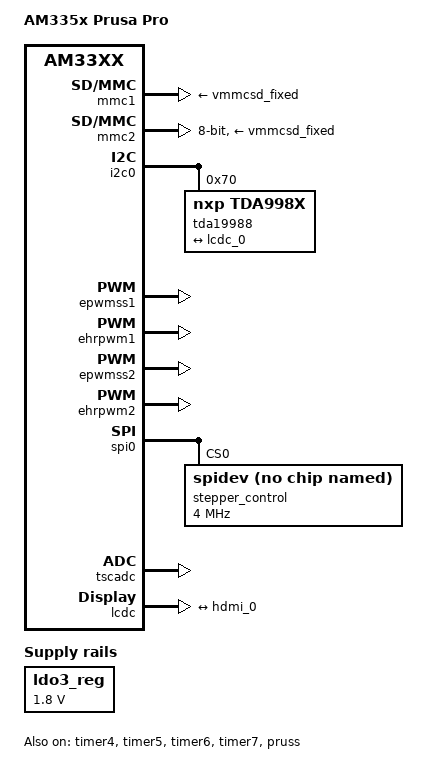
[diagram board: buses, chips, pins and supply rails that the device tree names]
/*
 * Copyright (C) 2012 Texas Instruments Incorporated - http://www.ti.com/
 *
 * This program is free software; you can redistribute it and/or modify
 * it under the terms of the GNU General Public License version 2 as
 * published by the Free Software Foundation.
 */
/dts-v1/;

#include "am33xx.dtsi"
#include "am335x-bone-common.dtsi"
#include <dt-bindings/display/tda998x.h>
/* #include "am335x-bone-jtag.dtsi" */

/ {
    model = "AM335x Prusa Pro";
    compatible = "ti,am335x-bone-black", "ti,am335x-bone", "ti,am33xx";
/*
    gpio_keys {
        compatible = "gpio-keys";
        pinctrl-names = "default";
        pinctrl-0 = <&end_stop_pins>;
        pinctrl-1 = <&stepper_fault_pins>;
        #address-cells = <1>;
        #size-cells = <0>;

        switch_x1 {
            label               = "Replic:End-stop-X1";
            debounce_interval   = <50>;
            linux,code          = <112>;
            gpios               = <&gpio1 28 0x5>;
            gpio-key,wakeup;
        };              
        switch_x2 {
            label               = "Replic:End-stop-X2";
            debounce_interval   = <50>;
            linux,code          = <113>;
            gpios               = <&gpio1 17 0x5>;
            gpio-key,wakeup;
        };
        switch_y1 {
            label               = "Replic:End-stop-Y1";
            debounce_interval   = <50>;
            linux,code          = <114>;
            gpios               = <&gpio1 27 0x5>;
            gpio-key,wakeup;
        };              
        switch_y2 {
            label               = "Replic:End-stop-Y2";
            debounce_interval   = <50>;
            linux,code          = <115>;
            gpios               = <&gpio1 29 0x5>;
            gpio-key,wakeup;
        };              
        switch_z1 {
            label               = "Replic:End-stop-Z1";
            debounce_interval   = <50>;
            linux,code          = <116>;
            gpios               = <&gpio1 14 0x5>;
            gpio-key,wakeup;
        };              
        switch_z2 {
            label               = "Replic:End-stop-Z2";
            debounce_interval   = <50>;
            linux,code          = <117>;
            gpios               = <&gpio1 15 0x5>;
            gpio-key,wakeup;
        };              
        fault_x {
            label               = "Replic:Fault-X";
            debounce_interval   = <50>;
            linux,code          = <90>;
            gpios               = <&gpio0 27 0x5>;
            gpio-key,wakeup;    
        };
        fault_y {
            label               = "Replic:Fault-Y";
            debounce_interval   = <50>;
            linux,code          = <91>;
            gpios               = <&gpio2 0 0x5>;
            gpio-key,wakeup;    
        };
        fault_z {
            label               = "Replic:Fault-Z";
            debounce_interval   = <50>;
            linux,code          = <92>;
            gpios               = <&gpio1 16 0x5>;
            gpio-key,wakeup;    
        };
        fault_e {
            label               = "Replic:Fault-E";
            debounce_interval   = <50>;
            linux,code          = <93>;
            gpios               = <&gpio2 1 0x5>;
            gpio-key,wakeup;    
        };
        fault_h {
            label               = "Replic:Fault-H";
            debounce_interval   = <50>;
            linux,code          = <94>;
            gpios               = <&gpio0 29 0x5>;
            gpio-key,wakeup;    
        };
        fault_a {
            label               = "Replic:Fault-A";
            debounce_interval   = <50>;
            linux,code          = <94>;
            gpios               = <&gpio0 26 0x5>;
            gpio-key,wakeup;    
        };
    };
*/

    pwm4: dmtimer-pwm@4 {
        compatible = "ti,omap-dmtimer-pwm";
        ti,timers = <&timer4>;
        #pwm-cells = <3>;
        pinctrl-names = "default";
        pinctrl-0 = <&timer4_pins>; 

    };

    pwm5: dmtimer-pwm@5 {
        compatible = "ti,omap-dmtimer-pwm";
        ti,timers = <&timer5>;
        #pwm-cells = <3>;
        pinctrl-names = "default";
        pinctrl-0 = <&timer5_pins>; 

    };

    pwm6: dmtimer-pwm@6 {
        compatible = "ti,omap-dmtimer-pwm";
        ti,timers = <&timer6>;
        #pwm-cells = <3>;
        pinctrl-names = "default";
        pinctrl-0 = <&timer6_pins>; 

    };

    pwm7: dmtimer-pwm@7 {
        compatible = "ti,omap-dmtimer-pwm";
        ti,timers = <&timer7>;
        #pwm-cells = <3>;
        pinctrl-names = "default";
        pinctrl-0 = <&timer7_pins>; 

    };
};

&ldo3_reg {
    regulator-min-microvolt = <1800000>;
    regulator-max-microvolt = <1800000>;
    regulator-always-on;
};

&mmc1 {
    vmmc-supply = <&vmmcsd_fixed>;
};

&mmc2 {
    vmmc-supply = <&vmmcsd_fixed>;
    pinctrl-names = "default";
    pinctrl-0 = <&emmc_pins>;
    bus-width = <8>;
    status = "okay";
};

&cpu0_opp_table {
    /*
     * All PG 2.0 silicon may not support 1GHz but some of the early
     * BeagleBone Blacks have PG 2.0 silicon which is guaranteed
     * to support 1GHz OPP so enable it for PG 2.0 on this board.
     */
    oppnitro@1000000000 {
        opp-supported-hw = <0x06 0x0100>;
    };
};

&am33xx_pinmux {
    nxp_hdmi_bonelt_pins: nxp_hdmi_bonelt_pins {
        pinctrl-single,pins = <
            AM33XX_IOPAD(0x8a0, PIN_OUTPUT | MUX_MODE0)     /* lcd_data0.lcd_data0 */
            AM33XX_IOPAD(0x8a4, PIN_OUTPUT | MUX_MODE0)     /* lcd_data1.lcd_data1 */
            AM33XX_IOPAD(0x8a8, PIN_OUTPUT | MUX_MODE0)     /* lcd_data2.lcd_data2 */
            AM33XX_IOPAD(0x8ac, PIN_OUTPUT | MUX_MODE0)     /* lcd_data3.lcd_data3 */
            AM33XX_IOPAD(0x8b0, PIN_OUTPUT | MUX_MODE0)     /* lcd_data4.lcd_data4 */
            AM33XX_IOPAD(0x8b4, PIN_OUTPUT | MUX_MODE0)     /* lcd_data5.lcd_data5 */
            AM33XX_IOPAD(0x8b8, PIN_OUTPUT | MUX_MODE0)     /* lcd_data6.lcd_data6 */
            AM33XX_IOPAD(0x8bc, PIN_OUTPUT | MUX_MODE0)     /* lcd_data7.lcd_data7 */
            AM33XX_IOPAD(0x8c0, PIN_OUTPUT | MUX_MODE0)     /* lcd_data8.lcd_data8 */
            AM33XX_IOPAD(0x8c4, PIN_OUTPUT | MUX_MODE0)     /* lcd_data9.lcd_data9 */
            AM33XX_IOPAD(0x8c8, PIN_OUTPUT | MUX_MODE0)     /* lcd_data10.lcd_data10 */
            AM33XX_IOPAD(0x8cc, PIN_OUTPUT | MUX_MODE0)     /* lcd_data11.lcd_data11 */
            AM33XX_IOPAD(0x8d0, PIN_OUTPUT | MUX_MODE0)     /* lcd_data12.lcd_data12 */
            AM33XX_IOPAD(0x8d4, PIN_OUTPUT | MUX_MODE0)     /* lcd_data13.lcd_data13 */
            AM33XX_IOPAD(0x8d8, PIN_OUTPUT | MUX_MODE0)     /* lcd_data14.lcd_data14 */
            AM33XX_IOPAD(0x8dc, PIN_OUTPUT | MUX_MODE0)     /* lcd_data15.lcd_data15 */
            AM33XX_IOPAD(0x8e0, PIN_OUTPUT_PULLDOWN | MUX_MODE0)    /* lcd_vsync.lcd_vsync */
            AM33XX_IOPAD(0x8e4, PIN_OUTPUT_PULLDOWN | MUX_MODE0)    /* lcd_hsync.lcd_hsync */
            AM33XX_IOPAD(0x8e8, PIN_OUTPUT_PULLDOWN | MUX_MODE0)    /* lcd_pclk.lcd_pclk */
            AM33XX_IOPAD(0x8ec, PIN_OUTPUT_PULLDOWN | MUX_MODE0)    /* lcd_ac_bias_en.lcd_ac_bias_en */
        >;
    };
    
    ehrpwm1_pins: ehrpwm1_pins_default {
        pinctrl-single,pins = <
            AM33XX_IOPAD(0x848, PIN_OUTPUT | MUX_MODE6 )    /* (U14) gpmc_a2.ehrpwm1A - HEAT-0 */
            AM33XX_IOPAD(0x84c, PIN_OUTPUT | MUX_MODE6 )    /* (T14) gpmc_a3.ehrpwm1B - BED-HEAT */
        >;
    };
    
    ehrpwm2_pins: ehrpwm2_pins_default {
        pinctrl-single,pins = <
            AM33XX_IOPAD(0x820, PIN_OUTPUT | MUX_MODE4 )    /* (U10) gpmc_ad8.ehrpwm2A - FAN-1 */
            AM33XX_IOPAD(0x824, PIN_OUTPUT | MUX_MODE4 )    /* (T10) gpmc_ad9.ehrpwm2B - FAN-0 */
        >;
    };

    spi0_pins: spi0_pins {
        pinctrl-single,pins = <
            AM33XX_IOPAD(0x950, PIN_INPUT | MUX_MODE0 )     // (A17) spi0_sclk.spi0_sclk
            AM33XX_IOPAD(0x954, PIN_INPUT | MUX_MODE0 )     // (B17) spi0_d0.spi0_d0
            AM33XX_IOPAD(0x958, PIN_INPUT | MUX_MODE0 )     // (B16) spi0_d1.spi0_d1
            AM33XX_IOPAD(0x95c, PIN_OUTPUT | MUX_MODE0 )    // (A16) spi0_cs0.spi0_cs0
            //spi0_cs1 used by mmc0_cd 
            //0x160 ( PIN_OUTPUT | MUX_MODE0 )              // (C15) spi0_cs1.spi0_cs1
        >;
    };
/*
    spi1_pins: spi1_pins {
        pinctrl-single,pins = <
            0x164 ( PIN_INPUT | MUX_MODE4 )                 // (C18) eCAP0_in_PWM0_out.spi1_sclk
            0x168 ( PIN_INPUT | MUX_MODE4 )                 // (E18) uart0_ctsn.spi1_d0
            0x16c ( PIN_INPUT | MUX_MODE4 )                 // (E17) uart0_rtsn.spi1_d1
            0x178 ( PIN_INPUT | MUX_MODE4 )                 // (D18) uart1_ctsn.spi1_cs0
            0x17c ( PIN_INPUT | MUX_MODE4 )                 // (D17) uart1_rtsn.spi1_cs1
        >;
    };
*/
    pru_stepper_pins: pru_pruss_pins {
        pinctrl-single,pins = <
            AM33XX_IOPAD(0x990, PIN_OUTPUT | MUX_MODE5 )    // (A13) mcasp0_aclkx.pr1_pru0_pru_r30[0] - X-STEP
            AM33XX_IOPAD(0x994, PIN_OUTPUT | MUX_MODE5 )    // (B13) mcasp0_fsx.pr1_pru0_pru_r30[1] - X-DIR
            AM33XX_IOPAD(0x998, PIN_OUTPUT | MUX_MODE5 )    // (D12) mcasp0_axr0.pr1_pru0_pru_r30[2] - Y-STEP
            AM33XX_IOPAD(0x99c, PIN_OUTPUT | MUX_MODE5 )    // (C12) mcasp0_ahclkr.pr1_pru0_pru_r30[3] - Y-DIR
            AM33XX_IOPAD(0x9a0, PIN_OUTPUT | MUX_MODE5 )    // (B12) mcasp0_aclkr.pr1_pru0_pru_r30[4] - Z-STEP
            AM33XX_IOPAD(0x9a4, PIN_OUTPUT | MUX_MODE5 )    // (C13) mcasp0_fsr.pr1_pru0_pru_r30[5] - Z-DIR
            AM33XX_IOPAD(0x830, PIN_OUTPUT | MUX_MODE6 )    // (T12) gpmc_ad12.pr1_pru0_pru_r30[14] - E0-STEP
            AM33XX_IOPAD(0x834, PIN_OUTPUT | MUX_MODE6 )    // (R12) gpmc_ad13.pr1_pru0_pru_r30[15] - E0-DIR
            
            AM33XX_IOPAD(0x838, PIN_INPUT | MUX_MODE6 )     // (V13) gpmc_ad14.pr1_pru0_pru_r31[14] - E0_DIAG
            AM33XX_IOPAD(0x83c, PIN_INPUT | MUX_MODE6 )     // (U13) gpmc_ad15.pr1_pru0_pru_r31[15] - Z-MIN
            AM33XX_IOPAD(0x984, PIN_INPUT | MUX_MODE6 )     // (D15) uart1_txd.pr1_pru0_pru_r31[16] - Y_DIAG 
            AM33XX_IOPAD(0x9a8, PIN_INPUT | MUX_MODE6 )     // (D13) mcasp0_axr1.pr1_pru0_pru_r31[6] - Z_DIAG
            AM33XX_IOPAD(0x9ac, PIN_INPUT | MUX_MODE6 )     // (A14) mcasp0_ahclkx.pr1_pru0_pru_r31[7] - X_DIAG 
            
            //0xf0 ( PIN_OUTPUT | MUX_MODE5 )               // (F17) mmc0_dat3.pr1_pru0_pru_r30[8] */
            //0xf4 ( PIN_OUTPUT | MUX_MODE5 )               // (F18) mmc0_dat2.pr1_pru0_pru_r30[9] */
            //0xf8 ( PIN_OUTPUT | MUX_MODE5 )               // (G15) mmc0_dat1.pr1_pru0_pru_r30[10] */
            //0xfc ( PIN_OUTPUT | MUX_MODE5 )               // (G16) mmc0_dat0.pr1_pru0_pru_r30[11] */
            //0x100 ( PIN_OUTPUT | MUX_MODE5 )              // (G17) mmc0_clk.pr1_pru0_pru_r30[12] */
            //0x104 ( PIN_OUTPUT | MUX_MODE5 )              // (G18) mmc0_cmd.pr1_pru0_pru_r30[13] */
            //0x38 ( PIN_INPUT | MUX_MODE6 )                // (V13) gpmc_ad14.pr1_pru0_pru_r31[14] */
            //0x3c ( PIN_INPUT | MUX_MODE6 )                // (U13) gpmc_ad15.pr1_pru0_pru_r31[15] */
            //0x1b4 ( PIN_INPUT | MUX_MODE5 )               // (D14) xdma_event_intr1.pr1_pru0_pru_r31[16] */
        >;
    };
/*
    pru_stepper_pins_gpio: pru_pruss11_pins {
        pinctrl-single,pins = <
            0x190 ( PIN_OUTPUT | MUX_MODE7 ) // (A13) mcasp0_aclkx.pr1_pru0_pru_r30[0] 
            0x194 ( PIN_OUTPUT | MUX_MODE7 ) // (B13) mcasp0_fsx.pr1_pru0_pru_r30[1] 
            0x198 ( PIN_OUTPUT | MUX_MODE7 ) // (D12) mcasp0_axr0.pr1_pru0_pru_r30[2] 
            0x19c ( PIN_OUTPUT | MUX_MODE7 ) // (C12) mcasp0_ahclkr.pr1_pru0_pru_r30[3] 
            0x1a0 ( PIN_OUTPUT | MUX_MODE7 ) // (B12) mcasp0_aclkr.pr1_pru0_pru_r30[4] 
            0x1a4 ( PIN_OUTPUT | MUX_MODE7 ) // (C13) mcasp0_fsr.pr1_pru0_pru_r30[5] 
            0x1a8 ( PIN_OUTPUT | MUX_MODE7 ) // (D13) mcasp0_axr1.pr1_pru0_pru_r30[6] 
            0x1ac ( PIN_OUTPUT | MUX_MODE7 ) // (A14) mcasp0_ahclkx.pr1_pru0_pru_r30[7] 
            0xf0 ( PIN_OUTPUT | MUX_MODE7 ) // (F17) mmc0_dat3.pr1_pru0_pru_r30[8] 
            0xf4 ( PIN_OUTPUT | MUX_MODE7 ) // (F18) mmc0_dat2.pr1_pru0_pru_r30[9] 
            0xf8 ( PIN_OUTPUT | MUX_MODE7 ) // (G15) mmc0_dat1.pr1_pru0_pru_r30[10] 
            0xfc ( PIN_OUTPUT | MUX_MODE7 ) // (G16) mmc0_dat0.pr1_pru0_pru_r30[11] 
            0x100 ( PIN_OUTPUT | MUX_MODE7 ) // (G17) mmc0_clk.pr1_pru0_pru_r30[12] 
            0x104 ( PIN_OUTPUT | MUX_MODE7 ) // (G18) mmc0_cmd.pr1_pru0_pru_r30[13] 
            0x30 ( PIN_OUTPUT | MUX_MODE7 ) // (T12) gpmc_ad12.pr1_pru0_pru_r30[14] 
            0x34 ( PIN_OUTPUT | MUX_MODE7 ) // (R12) gpmc_ad13.pr1_pru0_pru_r30[15] 
        >;
    };
*/
    timer4_pins: timer4_pins {
        pinctrl-single,pins = <
            AM33XX_IOPAD(0x890, PIN_OUTPUT | MUX_MODE2 )    /* (R7) gpmc_advn_ale.timer4 */
        >;
    };
    
    timer5_pins: timer5_pins {
        pinctrl-single,pins = <
            AM33XX_IOPAD(0x89c, PIN_OUTPUT | MUX_MODE2 )    /* (T6) gpmc_be0n_cle.timer5 */
        >;
    };
    
    timer6_pins: timer6_pins {
        pinctrl-single,pins = <
            AM33XX_IOPAD(0x898, PIN_OUTPUT | MUX_MODE2 )    /* (U6) gpmc_wen.timer6 */
        >;
    };
    
    timer7_pins: timer7_pins {
        pinctrl-single,pins = <
            AM33XX_IOPAD(0x894, PIN_OUTPUT | MUX_MODE2 )    /* (T7) gpmc_oen_ren.timer7 */
        >;
    };
/*
    i2c1_pins: i2c1_pins {
        pinctrl-single,pins = <
            0x184 ( PIN_INPUT | MUX_MODE3 )                 // (D15) uart1_txd.I2C1_SCL
            0x180 ( PIN_INPUT | MUX_MODE3 )                 // (D16) uart1_rxd.I2C1_SDA
        >;
    };
    
    uart4_pins: pinmux_uart4_pins {
        pinctrl-single,pins = <
            0x70 ( PIN_INPUT | MUX_MODE6 )                  // (T17) gpmc_wait0.uart4_rxd
            0x74 ( PIN_OUTPUT | MUX_MODE6 )                 // (U17) gpmc_wpn.uart4_txd
        >;
    };

    cpsw_default: cpsw_default {
        pinctrl-single,pins = <
            // Slave 1 
            //++Revolve added
            //0x108 (PIN_INPUT | MUX_MODE0)       // mii1_col.mii1_col
            //0x10c (PIN_INPUT | MUX_MODE0)       // mii1_crs.mii1_crs
        >;
    };

    cpsw_sleep: cpsw_sleep {
        pinctrl-single,pins = <
            // Slave 1 reset value
            //0x108 (PIN_INPUT_PULLDOWN | MUX_MODE7)
            //0x10c (PIN_INPUT_PULLDOWN | MUX_MODE7)
        >;
    };

    stepper_fault_pins: pinmux_stepper_fault_pins{
        pinctrl-single,pins = <
            0x2c  ( PIN_INPUT | MUX_MODE7 )     // FAULT X
            0x88  ( PIN_INPUT | MUX_MODE7 )     // FAULT Y
            0x40  ( PIN_INPUT | MUX_MODE7 )     // FAULT Z
            0x8c  ( PIN_INPUT | MUX_MODE7 )     // FAULT E
            0x144 ( PIN_INPUT | MUX_MODE7 )     // FAULT H
            0x28  ( PIN_INPUT | MUX_MODE7 )     // FAULT A
        >;
    };

    end_stop_pins: pinmux_end_stop_pins{
        pinctrl-single,pins = <
            0x78 ( PIN_INPUT | MUX_MODE7 )      // End stop X1  = GPIO3_21
            0x44 ( PIN_INPUT | MUX_MODE7 )      // End stop X2  = GPIO0_30
            0x6c ( PIN_INPUT | MUX_MODE7 )      // End stop Y1  = GPIO1_27
            0x7c ( PIN_INPUT | MUX_MODE7 )      // End stop Z1  = GPIO0_31
            0x38 ( PIN_INPUT | MUX_MODE7 )      // End stop Z2  = GPIO0_4
            0x3c ( PIN_INPUT | MUX_MODE7 )      // End stop Y2  = GPIO3_17
        >;
    };

    gpio0_pins: mygpio0_pins_default {
        pinctrl-single,pins = <
            0x21c ( PIN_INPUT | MUX_MODE7 )     // (F16) USB0_DRVVBUS.gpio0[18]
            0x28 ( PIN_INPUT | MUX_MODE7 )      // (T11) gpmc_ad10.gpio0[26]
            0x2c ( PIN_INPUT | MUX_MODE7 )      // (U12) gpmc_ad11.gpio0[27]
            0x144 ( PIN_INPUT | MUX_MODE7 )     // (H18) rmii1_refclk.gpio0[29]
        >;
    };
*/    
    gpio0_pins: gpio0_pins_default {
        pinctrl-single,pins = <
            AM33XX_IOPAD(0x828, PIN_INPUT | MUX_MODE7 )     // (T11) gpmc_ad10.gpio0[26] - TACH_1
            AM33XX_IOPAD(0x82c, PIN_INPUT | MUX_MODE7 )     // (U12) gpmc_ad11.gpio0[27] - TACH_0
        >;
    };
/* some beaglebone stuff
    enable_stuff_pins: enable_stuff_pins{
        pinctrl-single,pins = <
                0x21c ( PIN_INPUT | MUX_MODE7 ) // (F16) USB0_DRVVBUS.gpio0[18]
        >;
    };
*/
};
/*
&uart4 {
    pinctrl-names = "default";
    pinctrl-0 = <&uart4_pins>;
    status = "okay";
};


&usb0 {
    status = "okay";
    dr_mode = "peripheral";
    interrupts-extended = <&intc 18 &tps 0>;
    interrupt-names = "mc", "vbus";
};
*/


&gpio0{
    status = "okay";
};

&i2c0 {
    tda19988: tda19988 {
        compatible = "nxp,tda998x";
        reg = <0x70>;

        pinctrl-names = "default";
        pinctrl-0 = <&nxp_hdmi_bonelt_pins>;

        /* Convert 24bit BGR to RGB, e.g. cross red and blue wiring */
        /* video-ports = <0x234501>; */
        
        // BeagleBone audio settings
        //#sound-dai-cells = <0>;
        //audio-ports = < TDA998x_I2S 0x03>;
        
        ports {
            port@0 {
                hdmi_0: endpoint@0 {
                    remote-endpoint = <&lcdc_0>;
                };
            };
        };
    };
};
/*
&i2c1{
    pinctrl-names = "default";
    pinctrl-0 = <&i2c1_pins>;
    status = "okay";
    clock-frequency = <400000>;
};
*/
&epwmss1{
    status = "okay";
};

&ehrpwm1{
    status = "okay";
    pinctrl-names = "default";
    pinctrl-0 = <&ehrpwm1_pins>;    
};

&epwmss2{
    status = "okay";
};

&ehrpwm2{
    status = "okay";
    pinctrl-names = "default";
    pinctrl-0 = <&ehrpwm2_pins>;
};


&timer4{
    status = "okay";
    ti,timer-pwm;
};

&timer5{
    status = "okay";        
    ti,timer-pwm;
};

&timer6{
    status = "okay";        
    ti,timer-pwm;
};

&timer7{
    status = "okay";        
    ti,timer-pwm;
};

&spi0{  
    status = "okay";
    pinctrl-names = "default";
    pinctrl-0 = <&spi0_pins>;

    stepper_control{
        #address-cells    = <1>;
        #size-cells       = <0>;
        compatible    = "spidev";
        reg           = <0>;
        spi-max-frequency = <4000000>;
    };
    /* we use only spi0_cs0 because spi0_cs1 is taken
    aux_control{
        #address-cells    = <1>;
        #size-cells       = <0>;
        compatible    = "spidev";
        reg           = <1>;
        spi-max-frequency = <16000000>;
    };
    */
};
/*
&spi1{
    status = "okay";
    pinctrl-names = "default";
    pinctrl-0 = <&spi1_pins>;   

    ext_stepper_B{
        #address-cells    = <1>;
        #size-cells       = <0>;
        compatible    = "spidev";
        reg           = <0>;
        spi-max-frequency = <16000000>;
    };

    ext_stepper_C{
        #address-cells    = <1>;
        #size-cells       = <0>;
        compatible    = "spidev";
        reg           = <1>;
        spi-max-frequency = <16000000>;
    };
};
*/
&pruss{
    status = "okay";
    pinctrl-names = "default";
    pinctrl-0 = <&pru_stepper_pins>;   

    stepper_x{
        pin-names   = "PRU-X-STEP", "PRU-X-DIR";      
        gpios       = <&gpio3 14 0
                       &gpio3 15 0>; 
    };
/*    
    stepper_y{
        pin-names   = "Replic:pru-step_y", "Replic:pru-dir_y";      
        gpios       =<&gpio3 16 0
                      &gpio3 17 0>; 
    };
    stepper_z{
        pin-names   = "Replic:pru-step_z", "Replic:pru-dir_z";      
        gpios       = <&gpio3 18 0
                       &gpio3 19 0>; 
    };
    stepper_e{
        pin-names   = "Replic:pru-step_e", "Replic:pru-dir_ext_1";      
        gpios       = <&gpio3 20 0
                       &gpio3 21 0>; 
    };
    stepper_h{
        pin-names   = "Replic:pru-step_h", "Replic:pru-dir_ext_2";      
        gpios       = <&gpio2 26 0
                       &gpio2 27 0>; 
    };
    stepper_a{
        pin-names   = "Replic:pru-step_a", "Replic:pru-dir_ext_3";      
        gpios       = <&gpio2 28 0
                       &gpio2 29 0>; 
    };
*/
};

&tscadc{            
    status = "okay";
    adc {
        ti,adc-channels = <0 1 2 3 4 5 6 7>;    
    };
};

&lcdc {
    status = "okay";

    /* If you want to get 24 bit RGB and 16 BGR mode instead of
     * current 16 bit RGB and 24 BGR modes, set the propety
     * below to "crossed" and uncomment the video-ports -property
     * in tda19988 node.
     */
    blue-and-red-wiring = "straight";

    port {
        lcdc_0: endpoint@0 {
            remote-endpoint = <&hdmi_0>;
        };
    };
};

/*
&ocp {
    enable_stuff_pinmux {
        compatible = "bone-pinmux-helper";
        status = "okay";
        pinctrl-names = "default";
        pinctrl-0 = <&enable_stuff_pins>;
    };

    sgx@0x56000000 {
            compatible = "ti,sgx";
            ti,hwmods = "gfx";
            reg = <0x56000000 0x1000000>;
            interrupts = <0x25>;
    };
};
*/
